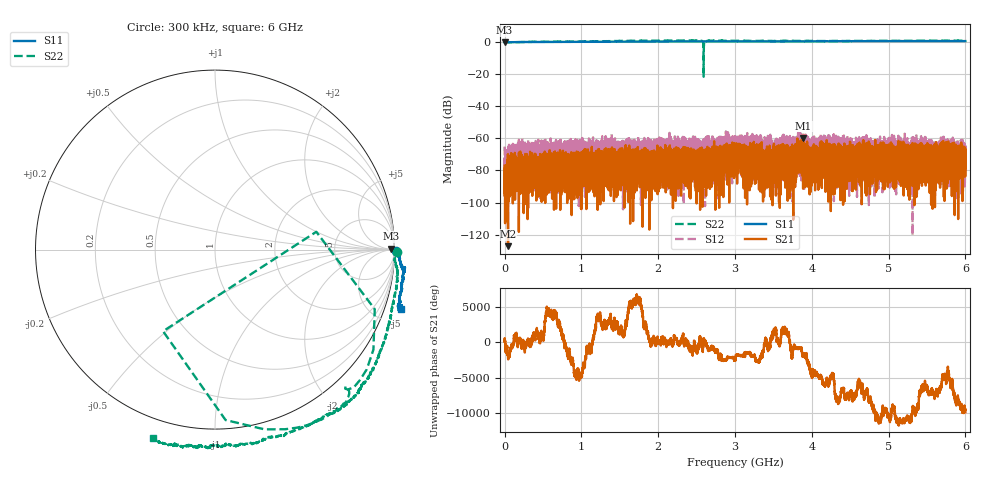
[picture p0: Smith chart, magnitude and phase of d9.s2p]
!Agilent Technologies,N5230C,SG49000117,A.08.50.07
!Agilent N5230C: A.08.50.07
!Date: Thursday, May 16, 2024 18:13:20
!Correction: S11(Full 2 Port(1,2))
!S21(Full 2 Port(1,2))
!S12(Full 2 Port(1,2))
!S22(Full 2 Port(1,2))
!S2P File: Measurements: S11, S21, S12, S22:
# Hz S  MA  R 50
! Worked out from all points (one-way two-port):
!   20001 points, 300 kHz to 6 GHz, reference 50 ohm
!   highest |S21| = -59.81 dB at 3.888 GHz (marker M1); lowest = -127.2 dB at 44.7 MHz (marker M2)
!   lowest |S11| = -0.1 dB at 600 kHz (marker M3), VSWR 116.52, Z = 5.2e+03 + j1.8e+03 ohm
!   |S11| at or under -10 dB: nowhere
!   |S22| runs from -21.5 to 1.1 dB; largest |S21 - S12| = 0.0018
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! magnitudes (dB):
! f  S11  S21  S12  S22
! 300 kHz  0.1  -77.2  -65.1  0.1
! 600 kHz  -0.1  -87.5  -80.9  -0.3
! 30.6 MHz  0.0  -84.7  -95.5  0.0
! 44.7 MHz  0.0  -127.2  -79.8  0.0
! 1 GHz  0.2  -71.4  -73.5  0.5
! 2 GHz  0.5  -93.4  -69.0  1.0
! 2.136 GHz  0.5  -87.7  -70.1  1.0
! 2.582 GHz  0.5  -73.5  -66.5  0.4
! 2.642 GHz  0.5  -69.0  -70.0  0.9
! 3 GHz  0.5  -76.8  -77.7  0.9
! 3.313 GHz  0.5  -72.5  -73.5  0.8
! 3.381 GHz  0.5  -71.5  -71.0  0.9
! 3.636 GHz  0.5  -67.4  -65.6  0.8
! 3.726 GHz  0.5  -72.2  -65.5  0.9
! 3.828 GHz  0.5  -65.8  -60.2  0.8
! 3.888 GHz  0.5  -59.8  -60.2  0.8
! 4 GHz  0.5  -65.9  -74.2  0.8
! 5 GHz  0.7  -68.8  -73.0  0.9
! 5.282 GHz  0.7  -77.3  -68.3  0.9
! 5.333 GHz  0.7  -71.6  -67.5  0.9
! 5.839 GHz  0.7  -64.5  -68.9  1.0
! 6 GHz  0.7  -74.3  -74.0  0.9
